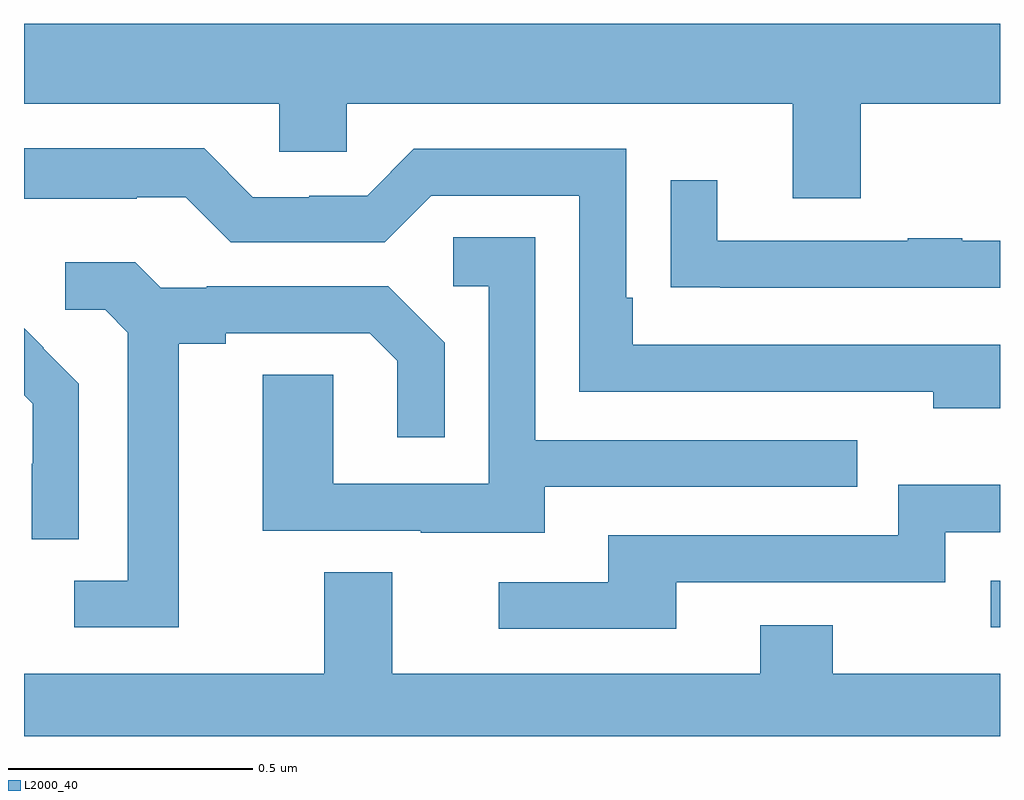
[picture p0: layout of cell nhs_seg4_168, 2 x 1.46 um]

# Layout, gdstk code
import gdstk
lib = gdstk.Library(unit=1e-6, precision=1e-09)
def R(c, l, rs):  # rectangles x0, y0, x1, y1
    for r in rs: c.add(gdstk.rectangle(r[:2], r[2:], *l))
def P(c, l, *ps):  # polygons
    for p in ps: c.add(gdstk.Polygon(p, *l))
L2000_40 = (2000, 40)

nhs_seg4_168 = lib.new_cell('nhs_seg4_168')
R(nhs_seg4_168, L2000_40, [(114.981,753.123,115,753.219)])
P(nhs_seg4_168, L2000_40, [(114.715,754.196),(115,754.196),(115,754.36),(113,754.36),(113,754.196),(113.523,754.196),(113.523,754.098),(113.661,754.098),(113.661,754.196),(114.575,754.196),(114.575,754.002),(114.715,754.002)],
  [(115,753.702),(114.247,753.702),(114.247,753.799),(114.234,753.799),(114.234,754.104),(113.799,754.104),(113.703,754.008),(113.585,754.008),(113.585,754.005),(113.469,754.005),(113.369,754.105),(113,754.105),(113,754.001),(113.231,754.001),(113.231,754.005),(113.331,754.005),(113.424,753.912),(113.739,753.912),(113.835,754.008),(114.138,754.008),(114.138,753.606),(114.863,753.606),(114.863,753.572),(115,753.572)],
  [(115,753.915),(114.923,753.915),(114.923,753.92),(114.811,753.92),(114.811,753.915),(114.421,753.915),(114.421,754.039),(114.325,754.039),(114.325,753.82),(114.427,753.82),(114.427,753.819),(115,753.819)],
  [(114.067,753.411),(114.707,753.411),(114.707,753.507),(114.048,753.507),(114.048,753.923),(113.88,753.923),(113.88,753.822),(113.952,753.822),(113.952,753.417),(113.634,753.417),(113.634,753.641),(113.489,753.641),(113.489,753.321),(113.813,753.321),(113.813,753.317),(114.067,753.317)],
  [(113.317,753.704),(113.413,753.704),(113.413,753.726),(113.708,753.726),(113.765,753.669),(113.765,753.513),(113.862,753.513),(113.862,753.706),(113.746,753.822),(113.374,753.822),(113.374,753.819),(113.28,753.819),(113.228,753.871),(113.085,753.871),(113.085,753.774),(113.166,753.774),(113.213,753.727),(113.213,753.219),(113.103,753.219),(113.103,753.123),(113.317,753.123)],
  [(113.112,753.622),(113.039,753.695),(113.04,753.696),(113,753.736),(113,753.599),(113.018,753.581),(113.018,753.458),(113.016,753.458),(113.016,753.304),(113.112,753.304)],
  [(114.337,753.216),(114.888,753.216),(114.888,753.318),(115,753.318),(115,753.415),(114.792,753.415),(114.792,753.312),(114.197,753.312),(114.197,753.216),(113.973,753.216),(113.973,753.12),(114.337,753.12)],
  [(115,753.028),(114.657,753.028),(114.657,753.127),(114.509,753.127),(114.509,753.028),(113.755,753.028),(113.755,753.236),(113.615,753.236),(113.615,753.028),(113,753.028),(113,752.9),(115,752.9)])

lib.write_gds('nhs_seg4_168.gds')
